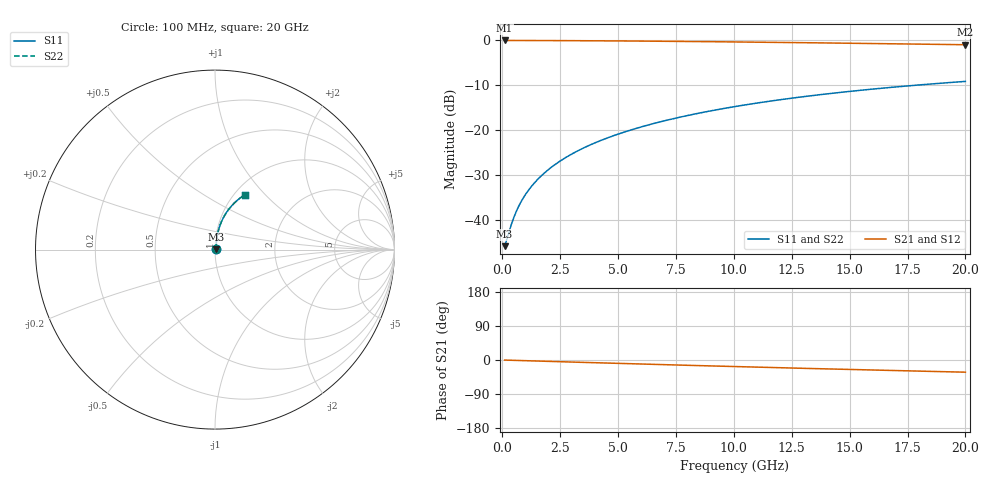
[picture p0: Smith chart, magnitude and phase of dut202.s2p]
! Touchstone file exported from HFSS 2024.1.0
!  File:  C:/UserFiles/LocalFiles/RDL_TSV_Batchsim/temp_RDL_bottom_202_1778699624.aedt
!  Generated:  03:16:20 AM May 14, 2026
!  Design:  RDL_bottom
!  Project:  temp_RDL_bottom_202_1778699624
!  Setup:  Setup1
!  Solution:  Sweep
! Variables:
!  dtsv = 10.80580581um
!  hbump = 3um
!  htsv = 84.38um
!  ldown = 419.56um
!  lrdl = 100um
!  p = 40
!  p1 = 41.08um
!  rhole = 1um
!  t = 450um
!  tdown = 2.11um
!  trdl = 3.915915916um
!  wdown = 15.5um
!  wrdl = 20um
# GHz S MA R 50.000000
! Terminal data exported
! Port[1] = RDL1_T1
! Port[2] = RDL1_T2
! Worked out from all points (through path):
!   200 points, 100 MHz to 20 GHz, reference 50 ohm
!   highest |S21| = -0.04 dB at 100 MHz (marker M1); lowest = -1.0 dB at 20 GHz (marker M2)
!   group delay of S21, straight-line fit = 4.46 ps
!   lowest |S11| = -45.7 dB at 100 MHz (marker M3), VSWR 1.01, Z = 50.5 + j0.195 ohm
!   |S11| at or under -10 dB: start of sweep to 17.82 GHz
!   |S22| runs from -45.7 to -9.1 dB; largest |S21 - S12| = 4.1e-15
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0.1  0.005169 21.9  0.9952 -0.2  0.9952 -0.2  0.005169 21.9
! Gamma 0 0 0 0
! Port Impedance 50 0 50 0
0.4  0.009148 56.4  0.9949 -0.8  0.9949 -0.8  0.009148 56.4
0.5  0.0108 61.3  0.9948 -0.9  0.9948 -0.9  0.0108 61.3
0.6  0.01249 64.7  0.9946 -1.1  0.9946 -1.1  0.01249 64.7
0.7  0.01419 67.3  0.9945 -1.3  0.9945 -1.3  0.01419 67.3
0.9  0.01763 71.0  0.9942 -1.7  0.9942 -1.7  0.01763 71.0
1.2  0.02281 74.4  0.9937 -2.2  0.9937 -2.2  0.02281 74.4
1.4  0.02628 75.9  0.9934 -2.6  0.9934 -2.6  0.02628 75.9
1.7  0.03151 77.5  0.9929 -3.1  0.9929 -3.1  0.03151 77.5
2.2  0.0403 79.2  0.9919 -4.0  0.9919 -4.0  0.0403 79.2
2.8  0.05095 80.2  0.9906 -5.1  0.9906 -5.1  0.05095 80.2
3.5  0.0635 80.7  0.9887 -6.3  0.9887 -6.3  0.0635 80.7
4.2  0.07616 80.8  0.9865 -7.5  0.9865 -7.5  0.07616 80.8
5  0.09075 80.5  0.9836 -8.9  0.9836 -8.9  0.09075 80.5
5.9  0.1073 79.9  0.9799 -10.5  0.9799 -10.5  0.1073 79.9
6.8  0.1238 79.1  0.9758 -12.0  0.9758 -12.0  0.1238 79.1
8.4  0.1534 77.4  0.9677 -14.7  0.9677 -14.7  0.1534 77.4
10.1  0.1845 75.2  0.9582 -17.4  0.9582 -17.4  0.1845 75.2
11.7  0.2134 73.1  0.9485 -19.9  0.9485 -19.9  0.2134 73.1
13.4  0.2433 70.7  0.9377 -22.6  0.9377 -22.6  0.2433 70.7
16.7  0.2985 65.9  0.9154 -27.5  0.9154 -27.5  0.2985 65.9
20  0.3493 61.3  0.8922 -32.1  0.8922 -32.1  0.3493 61.3
